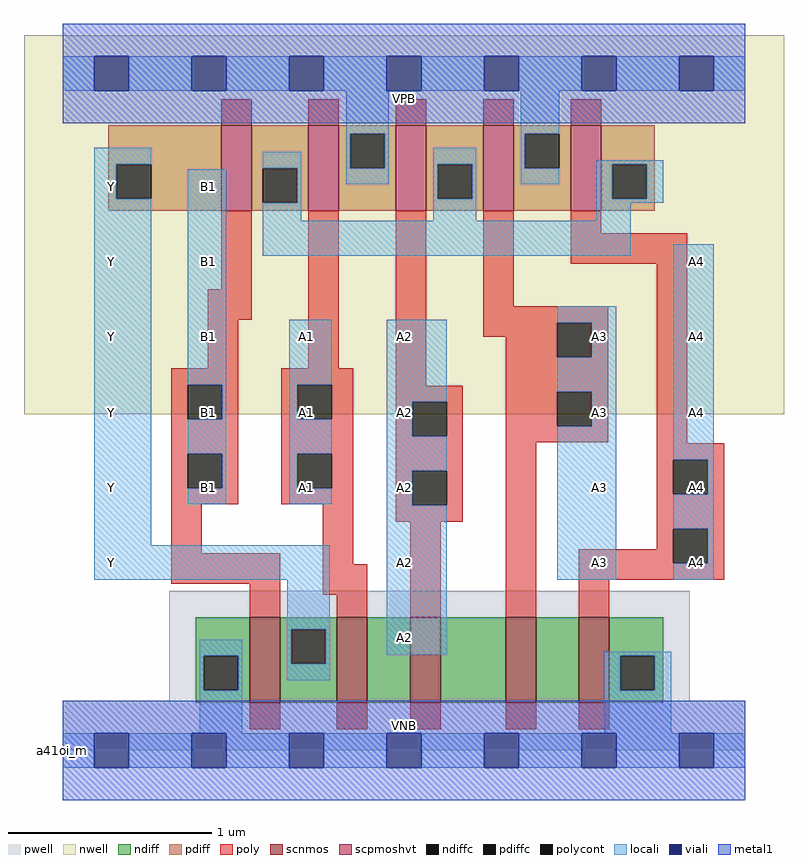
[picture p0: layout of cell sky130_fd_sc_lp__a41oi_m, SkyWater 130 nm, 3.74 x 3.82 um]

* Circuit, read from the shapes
.subckt sky130_fd_sc_lp__a41oi_m A1 A2 A3 A4 B1 VGND VNB VPB VPWR Y
XM1 Y B1 VGND VNB sky130_fd_pr__nfet_01v8 w=0.42 l=0.15
XM2 n1 A1 Y VNB sky130_fd_pr__nfet_01v8 w=0.42 l=0.15
XM3 n2 A2 n1 VNB sky130_fd_pr__nfet_01v8 w=0.42 l=0.15
XM4 n3 A3 n2 VNB sky130_fd_pr__nfet_01v8 w=0.42 l=0.15
XM5 VGND A4 n3 VNB sky130_fd_pr__nfet_01v8 w=0.42 l=0.15
XM6 n4 B1 Y VPB sky130_fd_pr__pfet_01v8_hvt w=0.42 l=0.15
XM7 VPWR A1 n4 VPB sky130_fd_pr__pfet_01v8_hvt w=0.42 l=0.15
XM8 n4 A2 VPWR VPB sky130_fd_pr__pfet_01v8_hvt w=0.42 l=0.15
XM9 VPWR A3 n4 VPB sky130_fd_pr__pfet_01v8_hvt w=0.42 l=0.15
XM10 n4 A4 VPWR VPB sky130_fd_pr__pfet_01v8_hvt w=0.42 l=0.15
.ends

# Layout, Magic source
magic
tech sky130A
magscale 1 2
<< nwell >>
rect -38 331 710 704
<< pwell >>
rect 105 49 617 157
rect 0 0 672 49
<< scnmos >>
rect 184 47 214 131
rect 270 47 300 131
rect 342 47 372 131
rect 436 47 466 131
rect 508 47 538 131
<< scpmoshvt >>
rect 156 531 186 615
rect 242 531 272 615
rect 328 531 358 615
rect 414 531 444 615
rect 500 531 530 615
<< ndiff >>
rect 131 93 184 131
rect 131 59 139 93
rect 173 59 184 93
rect 131 47 184 59
rect 214 119 270 131
rect 214 85 225 119
rect 259 85 270 119
rect 214 47 270 85
rect 300 47 342 131
rect 372 47 436 131
rect 466 47 508 131
rect 538 93 591 131
rect 538 59 549 93
rect 583 59 591 93
rect 538 47 591 59
<< pdiff >>
rect 45 577 156 615
rect 45 543 53 577
rect 87 543 156 577
rect 45 531 156 543
rect 186 573 242 615
rect 186 539 197 573
rect 231 539 242 573
rect 186 531 242 539
rect 272 607 328 615
rect 272 573 283 607
rect 317 573 328 607
rect 272 531 328 573
rect 358 577 414 615
rect 358 543 369 577
rect 403 543 414 577
rect 358 531 414 543
rect 444 607 500 615
rect 444 573 455 607
rect 489 573 500 607
rect 444 531 500 573
rect 530 577 583 615
rect 530 543 541 577
rect 575 543 583 577
rect 530 531 583 543
<< ndiffc >>
rect 139 59 173 93
rect 225 85 259 119
rect 549 59 583 93
<< pdiffc >>
rect 53 543 87 577
rect 197 539 231 573
rect 283 573 317 607
rect 369 543 403 577
rect 455 573 489 607
rect 541 543 575 577
<< poly >>
rect 156 615 186 641
rect 242 615 272 641
rect 328 615 358 641
rect 414 615 444 641
rect 500 615 530 641
rect 156 454 186 531
rect 143 424 186 454
rect 143 376 173 424
rect 242 376 272 531
rect 107 360 173 376
rect 107 326 123 360
rect 157 326 173 360
rect 107 292 173 326
rect 107 258 123 292
rect 157 258 173 292
rect 107 242 173 258
rect 215 360 286 376
rect 215 326 231 360
rect 265 326 286 360
rect 215 292 286 326
rect 215 258 231 292
rect 265 258 286 292
rect 215 242 286 258
rect 107 194 137 242
rect 107 164 214 194
rect 184 131 214 164
rect 256 183 286 242
rect 328 359 358 531
rect 414 437 444 531
rect 500 509 530 531
rect 500 479 615 509
rect 414 421 537 437
rect 414 407 487 421
rect 436 387 487 407
rect 521 387 537 421
rect 328 343 394 359
rect 328 309 344 343
rect 378 309 394 343
rect 328 275 394 309
rect 328 241 344 275
rect 378 241 394 275
rect 328 225 394 241
rect 436 353 537 387
rect 436 319 487 353
rect 521 319 537 353
rect 436 303 537 319
rect 256 153 300 183
rect 270 131 300 153
rect 342 131 372 225
rect 436 131 466 303
rect 585 302 615 479
rect 585 286 651 302
rect 585 252 601 286
rect 635 252 651 286
rect 585 218 651 252
rect 585 198 601 218
rect 508 184 601 198
rect 635 184 651 218
rect 508 168 651 184
rect 508 131 538 168
rect 184 21 214 47
rect 270 21 300 47
rect 342 21 372 47
rect 436 21 466 47
rect 508 21 538 47
<< polycont >>
rect 123 326 157 360
rect 123 258 157 292
rect 231 326 265 360
rect 231 258 265 292
rect 487 387 521 421
rect 344 309 378 343
rect 344 241 378 275
rect 487 319 521 353
rect 601 252 635 286
rect 601 184 635 218
<< locali >>
rect 0 649 31 683
rect 65 649 127 683
rect 161 649 223 683
rect 257 649 319 683
rect 353 649 415 683
rect 449 649 511 683
rect 545 649 607 683
rect 641 649 672 683
rect 279 607 321 649
rect 31 577 87 593
rect 31 543 53 577
rect 197 573 235 589
rect 31 202 87 543
rect 123 360 161 572
rect 231 539 235 573
rect 279 573 283 607
rect 317 573 321 607
rect 451 607 489 649
rect 279 557 321 573
rect 365 577 407 593
rect 197 521 235 539
rect 365 543 369 577
rect 403 543 407 577
rect 451 573 455 607
rect 451 557 489 573
rect 525 577 591 581
rect 365 521 407 543
rect 525 543 541 577
rect 575 543 591 577
rect 525 539 591 543
rect 525 521 559 539
rect 197 487 559 521
rect 157 326 161 360
rect 123 292 161 326
rect 157 258 161 292
rect 123 242 161 258
rect 223 360 265 424
rect 223 326 231 360
rect 223 292 265 326
rect 223 258 231 292
rect 223 242 265 258
rect 319 343 378 424
rect 319 309 344 343
rect 319 275 378 309
rect 319 241 344 275
rect 31 168 263 202
rect 221 119 263 168
rect 135 93 177 109
rect 135 59 139 93
rect 173 59 177 93
rect 221 85 225 119
rect 259 85 263 119
rect 319 94 378 241
rect 487 421 545 437
rect 521 387 545 421
rect 487 353 545 387
rect 521 319 545 353
rect 487 168 545 319
rect 601 286 641 498
rect 635 252 641 286
rect 601 218 641 252
rect 635 184 641 218
rect 601 168 641 184
rect 221 69 263 85
rect 533 93 599 97
rect 135 17 177 59
rect 533 59 549 93
rect 583 59 599 93
rect 533 17 599 59
rect 0 -17 31 17
rect 65 -17 127 17
rect 161 -17 223 17
rect 257 -17 319 17
rect 353 -17 415 17
rect 449 -17 511 17
rect 545 -17 607 17
rect 641 -17 672 17
<< viali >>
rect 31 649 65 683
rect 127 649 161 683
rect 223 649 257 683
rect 319 649 353 683
rect 415 649 449 683
rect 511 649 545 683
rect 607 649 641 683
rect 31 -17 65 17
rect 127 -17 161 17
rect 223 -17 257 17
rect 319 -17 353 17
rect 415 -17 449 17
rect 511 -17 545 17
rect 607 -17 641 17
<< metal1 >>
rect 0 683 672 715
rect 0 649 31 683
rect 65 649 127 683
rect 161 649 223 683
rect 257 649 319 683
rect 353 649 415 683
rect 449 649 511 683
rect 545 649 607 683
rect 641 649 672 683
rect 0 617 672 649
rect 0 17 672 49
rect 0 -17 31 17
rect 65 -17 127 17
rect 161 -17 223 17
rect 257 -17 319 17
rect 353 -17 415 17
rect 449 -17 511 17
rect 545 -17 607 17
rect 641 -17 672 17
rect 0 -49 672 -17
<< labels >>
flabel pwell s 0 0 672 49 0 FreeSans 200 0 0 0 VNB
port 7 nsew ground bidirectional
flabel nwell s 0 617 672 666 0 FreeSans 200 0 0 0 VPB
port 8 nsew power bidirectional
rlabel comment s 0 0 0 0 4 a41oi_m
flabel metal1 s 0 617 672 666 0 FreeSans 340 0 0 0 VPWR
port 9 nsew power bidirectional
flabel metal1 s 0 0 672 49 0 FreeSans 340 0 0 0 VGND
port 6 nsew ground bidirectional
flabel locali s 223 242 257 276 0 FreeSans 340 0 0 0 A1
port 1 nsew signal input
flabel locali s 223 316 257 350 0 FreeSans 340 0 0 0 A1
port 1 nsew signal input
flabel locali s 223 390 257 424 0 FreeSans 340 0 0 0 A1
port 1 nsew signal input
flabel locali s 319 94 353 128 0 FreeSans 340 0 0 0 A2
port 2 nsew signal input
flabel locali s 319 168 353 202 0 FreeSans 340 0 0 0 A2
port 2 nsew signal input
flabel locali s 319 242 353 276 0 FreeSans 340 0 0 0 A2
port 2 nsew signal input
flabel locali s 319 316 353 350 0 FreeSans 340 0 0 0 A2
port 2 nsew signal input
flabel locali s 319 390 353 424 0 FreeSans 340 0 0 0 A2
port 2 nsew signal input
flabel locali s 511 168 545 202 0 FreeSans 340 0 0 0 A3
port 3 nsew signal input
flabel locali s 511 242 545 276 0 FreeSans 340 0 0 0 A3
port 3 nsew signal input
flabel locali s 511 316 545 350 0 FreeSans 340 0 0 0 A3
port 3 nsew signal input
flabel locali s 511 390 545 424 0 FreeSans 340 0 0 0 A3
port 3 nsew signal input
flabel locali s 607 168 641 202 0 FreeSans 340 0 0 0 A4
port 4 nsew signal input
flabel locali s 607 242 641 276 0 FreeSans 340 0 0 0 A4
port 4 nsew signal input
flabel locali s 607 316 641 350 0 FreeSans 340 0 0 0 A4
port 4 nsew signal input
flabel locali s 607 390 641 424 0 FreeSans 340 0 0 0 A4
port 4 nsew signal input
flabel locali s 607 464 641 498 0 FreeSans 340 0 0 0 A4
port 4 nsew signal input
flabel locali s 127 242 161 276 0 FreeSans 340 0 0 0 B1
port 5 nsew signal input
flabel locali s 127 316 161 350 0 FreeSans 340 0 0 0 B1
port 5 nsew signal input
flabel locali s 127 390 161 424 0 FreeSans 340 0 0 0 B1
port 5 nsew signal input
flabel locali s 127 464 161 498 0 FreeSans 340 0 0 0 B1
port 5 nsew signal input
flabel locali s 127 538 161 572 0 FreeSans 340 0 0 0 B1
port 5 nsew signal input
flabel locali s 31 168 65 202 0 FreeSans 340 0 0 0 Y
port 10 nsew signal output
flabel locali s 31 242 65 276 0 FreeSans 340 0 0 0 Y
port 10 nsew signal output
flabel locali s 31 316 65 350 0 FreeSans 340 0 0 0 Y
port 10 nsew signal output
flabel locali s 31 390 65 424 0 FreeSans 340 0 0 0 Y
port 10 nsew signal output
flabel locali s 31 464 65 498 0 FreeSans 340 0 0 0 Y
port 10 nsew signal output
flabel locali s 31 538 65 572 0 FreeSans 340 0 0 0 Y
port 10 nsew signal output
<< properties >>
string LEFsite unit
string LEFclass CORE
string FIXED_BBOX 0 0 672 666
string GDS_FILE $PDKPATH/libs.ref/sky130_fd_sc_lp/gds/sky130_fd_sc_lp.gds
string LEFsymmetry X Y R90
string GDS_END 1355110
string GDS_START 1346464
<< end >>
